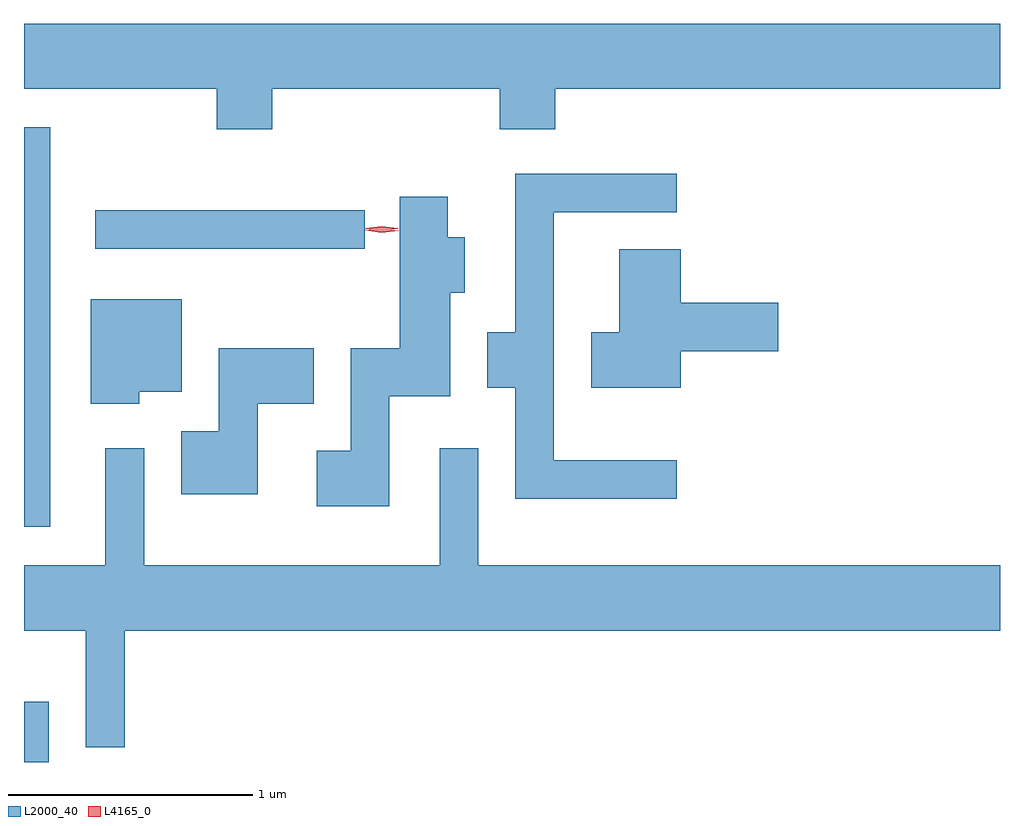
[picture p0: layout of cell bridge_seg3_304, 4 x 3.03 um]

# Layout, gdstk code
import gdstk
lib = gdstk.Library(unit=1e-6, precision=1e-09)
def R(c, l, rs):  # rectangles x0, y0, x1, y1
    for r in rs: c.add(gdstk.rectangle(r[:2], r[2:], *l))
def P(c, l, *ps):  # polygons
    for p in ps: c.add(gdstk.Polygon(p, *l))
L2000_40 = (2000, 40)
L4165_0 = (4165, 0)

bridge_seg3_304 = lib.new_cell('bridge_seg3_304')
R(bridge_seg3_304, L2000_40, [(585.022,1227.596,585.124,1227.844), (585.022,1228.561,585.129,1230.199), (585.313,1229.701,586.418,1229.859)])
P(bridge_seg3_304, L2000_40, [(586.039,1230.356),(586.971,1230.356),(586.971,1230.191),(587.199,1230.191),(587.199,1230.356),(589.022,1230.356),(589.022,1230.624),(585.022,1230.624),(585.022,1230.356),(585.811,1230.356),(585.811,1230.191),(586.039,1230.191)],
  [(587.698,1228.834),(587.194,1228.834),(587.194,1229.851),(587.698,1229.851),(587.698,1230.009),(587.036,1230.009),(587.036,1229.359),(586.921,1229.359),(586.921,1229.131),(587.036,1229.131),(587.036,1228.676),(587.698,1228.676)],
  [(586.519,1229.096),(586.769,1229.096),(586.769,1229.521),(586.829,1229.521),(586.829,1229.749),(586.759,1229.749),(586.759,1229.914),(586.561,1229.914),(586.561,1229.294),(586.361,1229.294),(586.361,1228.874),(586.221,1228.874),(586.221,1228.646),(586.519,1228.646)],
  [(587.714,1229.281),(588.114,1229.281),(588.114,1229.479),(587.714,1229.479),(587.714,1229.699),(587.461,1229.699),(587.461,1229.359),(587.346,1229.359),(587.346,1229.131),(587.714,1229.131)],
  [(585.494,1229.116),(585.669,1229.116),(585.669,1229.494),(585.296,1229.494),(585.296,1229.066),(585.494,1229.066)],
  [(585.979,1229.066),(586.209,1229.066),(586.209,1229.294),(585.821,1229.294),(585.821,1228.954),(585.666,1228.954),(585.666,1228.696),(585.979,1228.696)],
  [(585.434,1228.136),(589.022,1228.136),(589.022,1228.404),(586.884,1228.404),(586.884,1228.883),(586.726,1228.883),(586.726,1228.404),(585.514,1228.404),(585.514,1228.883),(585.356,1228.883),(585.356,1228.404),(585.022,1228.404),(585.022,1228.136),(585.276,1228.136),(585.276,1227.658),(585.434,1227.658)])
P(bridge_seg3_304, L4165_0, [(586.489,1229.775),(586.423,1229.784),(586.423,1229.784),(586.423,1229.785),(586.488,1229.794),(586.554,1229.785),(586.554,1229.785),(586.554,1229.784)],
  [(586.488,1229.766),(586.42,1229.776),(586.419,1229.777),(586.42,1229.777),(586.488,1229.785),(586.556,1229.775),(586.557,1229.774),(586.556,1229.774)])

lib.write_gds('bridge_seg3_304.gds')
